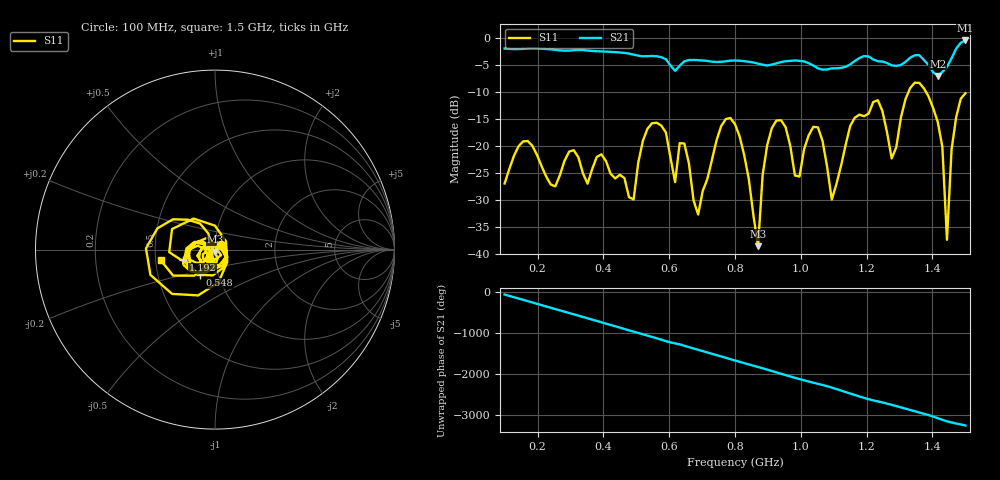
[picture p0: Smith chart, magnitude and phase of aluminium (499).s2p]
! NanoVNA-App
! Date: 2025-09-25 14:59:10
! Start: 100MHz Stop: 1,5GHz Points: 101
! S-Parameter data: F S11 S21 S12 S22
# Hz S RI R 50
!  Frequency  S11_Real  S11_Imag  S21_Real  S21_Imag  S12_Real  S12_Imag  S22_Real  S22_Imag
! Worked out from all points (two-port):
!   101 points, 100 MHz to 1.5 GHz, reference 50 ohm
!   highest |S21| = -0.43 dB at 1.5 GHz (marker M1); lowest = -7.0 dB at 1.416 GHz (marker M2)
!   |S21| within 3 dB of the highest: start of sweep to 567.8 MHz; 1.46 GHz to end of sweep (the widest 2 of 4)
!   lowest |S11| = -38.6 dB at 870 MHz (marker M3), VSWR 1.02, Z = 50.2 - j1.16 ohm
!   |S11| at or under -10 dB: start of sweep to 1.327 GHz; 1.38 GHz to end of sweep
!   S12 and S22 are empty: the file has one direction only
!   S11 on the Smith chart (normalised r, x): 100 MHz: 1.07, +0.06; 548 MHz: 0.82, -0.24; 1.192 GHz: 0.69, -0.08; 1.5 GHz: 0.53, -0.07
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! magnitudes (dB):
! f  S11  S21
! 100 MHz  -27.0  -1.9
! 156 MHz  -19.2  -2.0
! 338 MHz  -25.1  -2.2
! 492 MHz  -29.9  -3.1
! 548 MHz  -15.8  -3.3
! 576 MHz  -16.2  -3.5
! 618 MHz  -26.7  -6.1
! 646 MHz  -19.6  -4.3
! 688 MHz  -32.7  -4.1
! 800 MHz  -16.0  -4.1
! 870 MHz  -38.6  -4.7
! 912 MHz  -16.7  -4.9
! 996 MHz  -25.7  -4.2
! 1.038 GHz  -16.5  -5.1
! 1.094 GHz  -30.0  -5.6
! 1.192 GHz  -14.5  -3.3
! 1.276 GHz  -22.3  -5.1
! 1.346 GHz  -8.3  -3.2
! 1.416 GHz  -15.5  -7.0
! 1.444 GHz  -37.4  -5.3
! 1.458 GHz  -20.7  -3.7
! 1.5 GHz  -10.2  -0.4
